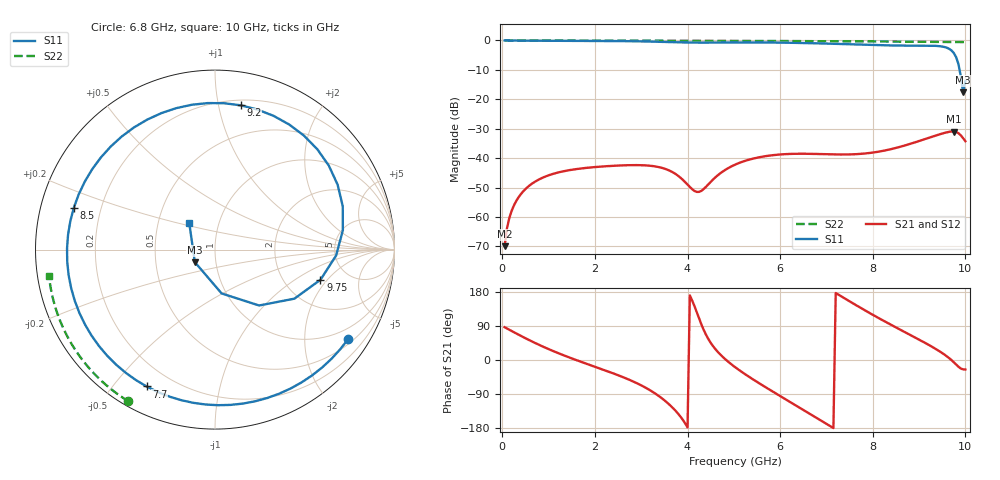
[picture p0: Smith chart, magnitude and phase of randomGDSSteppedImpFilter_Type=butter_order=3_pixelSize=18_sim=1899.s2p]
! freq	dB(S11)	phase(S11)	dB(S12)	phase(S12)
!  dB(S21)	phase(S21)	dB(S22)	phase(S22)
!S-par simulation data
#  GHz  S  DB  R 50
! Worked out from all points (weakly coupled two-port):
!   200 points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, 50 MHz to 10 GHz, reference 50 ohm
!   highest |S21| = -30.94 dB at 9.75 GHz (marker M1); lowest = -69.9 dB at 50 MHz (marker M2)
!   lowest |S11| = -17.6 dB at 9.95 GHz (marker M3), VSWR 1.30, Z = 39.6 - j5.64 ohm
!   |S11| at or under -10 dB: 9.874 GHz to end of sweep
!   |S22| runs from -0.6 to 0.0 dB; largest |S21 - S12| = 0
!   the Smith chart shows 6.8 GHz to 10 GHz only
!   S11 on the Smith chart (normalised r, x): 6.8 GHz: 0.63, -3.15; 7.7 GHz: 0.11, -0.61; 8.5 GHz: 0.10, +0.14; 9.2 GHz: 0.24, +1.17; 9.75 GHz: 3.16, -1.70; 10 GHz: 0.72, +0.22
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0.05  -0.01 -5.8  -69.91 86.5  -69.91 86.5  -0.00 -1.0
0.3  -0.05 -33.8  -54.59 70.1  -54.59 70.1  -0.01 -5.9
0.8  -0.10 -85.8  -47.17 39.7  -47.17 39.7  -0.02 -15.5
1.75  -0.15 -166.5  -43.42 -7.0  -43.42 -7.0  -0.04 -33.6
2.8  -0.26 106.5  -42.37 -55.3  -42.37 -55.3  -0.07 -53.0
3.4  -0.45 36.5  -43.11 -96.8  -43.11 -96.8  -0.08 -63.7
3.75  -0.62 -18.3  -45.48 -135.2  -45.48 -135.2  -0.09 -69.8
4.15  -0.73 -88.5  -51.15 142.1  -51.15 142.1  -0.11 -76.7
4.6  -0.70 -160.1  -46.54 28.9  -46.54 28.9  -0.12 -84.3
5.05  -0.66 142.0  -42.04 -21.0  -42.04 -21.0  -0.14 -91.8
5.7  -0.68 71.9  -39.28 -72.9  -39.28 -72.9  -0.17 -102.3
6.2  -0.78 22.5  -38.57 -109.7  -38.57 -109.7  -0.20 -110.3
6.7  -0.94 -24.8  -38.55 -146.4  -38.55 -146.4  -0.23 -118.2
6.8  -0.98 -34.0  -38.59 -153.8  -38.59 -153.8  -0.24 -119.7
7.7  -1.39 -116.6  -38.59 140.3  -38.59 140.3  -0.31 -133.8
8.35  -1.68 179.5  -37.10 95.8  -37.10 95.8  -0.37 -143.9
8.5  -1.72 163.4  -36.53 86.1  -36.53 86.1  -0.38 -146.3
9.2  -1.76 79.8  -33.15 40.5  -33.15 40.5  -0.46 -157.5
9.55  -2.24 27.9  -31.41 14.1  -31.41 14.1  -0.51 -163.2
9.75  -4.28 -16.0  -30.94 -5.9  -30.94 -5.9  -0.54 -166.6
9.95  -17.57 -148.1  -33.21 -24.7  -33.21 -24.7  -0.56 -170.0
10  -13.78 134.4  -34.24 -25.1  -34.24 -25.1  -0.57 -170.8
